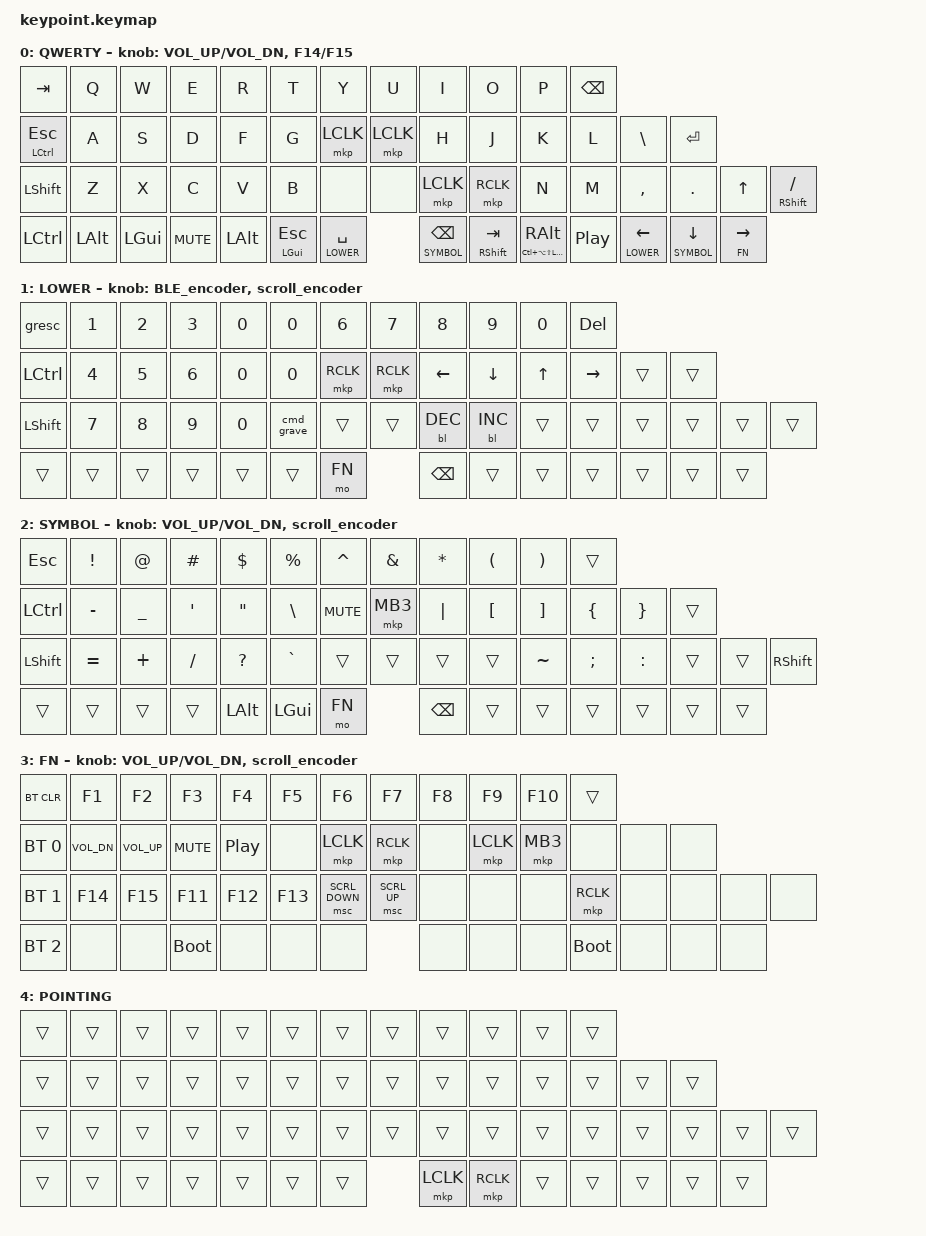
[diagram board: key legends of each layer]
/*
 * Copyright (c) 2025 ZitaoTech
 *
 * SPDX-License-Identifier: MIT
 */

#include <dt-bindings/zmk/mouse.h>
#include <behaviors.dtsi>
#include <dt-bindings/zmk/backlight.h>
#include <dt-bindings/zmk/bt.h>
#include <dt-bindings/zmk/keys.h>
#include <dt-bindings/zmk/pointing.h>

/* Layer numbers are also referenced from zitaotech_keypoint_left.dts, where the
 * trackpoint's input listener gates scrolling on LOWER and the temp-layer
 * processor raises POINTING. tests/test_pointing_layers.py holds the two files
 * to the same numbers -- a silent mismatch there disables scrolling outright. */
#define LOWER 1
#define SYMBOL 2
#define FN 3
#define POINTING 4

/ {
    behaviors {
        BLE_encoder: BLE_encoder {
            compatible = "zmk,behavior-sensor-rotate";
            #sensor-binding-cells = <0>;
            bindings = <&bt BT_NXT>, <&bt BT_PRV>;
        };

        scroll_encoder: scroll_encoder {
            compatible = "zmk,behavior-sensor-rotate";
            #sensor-binding-cells = <0>;
            bindings = <&msc SCRL_UP>, <&msc SCRL_DOWN>;
        };
    };

    macros {
        cmd_space: cmd_space {
            compatible = "zmk,behavior-macro";
            #binding-cells = <0>;
            bindings = <&macro_press &kp LGUI>, <&macro_tap &kp SPACE>, <&macro_release &kp LGUI>;
        };

        cmd_grave: cmd_grave {
            compatible = "zmk,behavior-macro";
            #binding-cells = <0>;
            bindings = <&macro_press &kp LGUI>, <&macro_tap &kp GRAVE>, <&macro_release &kp LGUI>;
        };
    };

    combos {
        compatible = "zmk,combos";

        combo_jk_cmd_space {
            timeout-ms = <50>;
            key-positions = <21 22>;
            layers = <0>;
            bindings = <&cmd_space>;
        };

        combo_df_cmd_space {
            timeout-ms = <50>;
            key-positions = <15 16>;
            layers = <0>;
            bindings = <&cmd_space>;
        };
    };

    keymap {
        compatible = "zmk,keymap";

        default_layer {
            display-name = "QWERTY";
            bindings = <
&kp TAB        &kp Q     &kp W     &kp E       &kp R     &kp T            &kp Y            &kp U            &kp I           &kp O         &kp P  &kp BSPC
&mt LCTRL ESC  &kp A     &kp S     &kp D       &kp F     &kp G            &mkp LCLK        &mkp LCLK        &kp H           &kp J         &kp K  &kp L           &kp BSLH         &kp ENTER
&kp LSHFT      &kp Z     &kp X     &kp C       &kp V     &kp B            &none            &none            &mkp LCLK       &mkp RCLK    &kp N  &kp M           &kp COMMA        &kp DOT       &kp UP      &mt RSHFT FSLH
&kp LCTRL      &kp LALT  &kp LGUI  &kp C_MUTE  &kp LALT  &mt LGUI ESC      &lt LOWER SPACE  &lt SYMBOL BSPC  &mt RSHFT TAB   &mt LC(LA(LS(LGUI))) RALT  &kp C_PP    &lt LOWER LEFT  &lt SYMBOL DOWN  &lt FN RIGHT
            >;

            sensor-bindings = <&inc_dec_kp C_VOL_UP C_VOL_DN &inc_dec_kp F14 F15>;
        };

        lower_layer {
            display-name = "LOWER";
            bindings = <
&gresc     &kp N1  &kp N2  &kp N3      &kp N0  &kp N0     &kp N6     &kp N7     &kp N8      &kp N9      &kp N0  &kp DEL
&kp LCTRL  &kp N4  &kp N5  &kp N6      &kp N0  &kp N0     &mkp RCLK  &mkp RCLK  &kp LEFT    &kp DOWN    &kp UP  &kp RIGHT  &trans  &trans
&kp LSHFT  &kp N7  &kp N8  &kp N9      &kp N0  &cmd_grave  &trans     &trans     &bl BL_DEC  &bl BL_INC  &trans  &trans     &trans  &trans  &trans  &trans
&trans     &trans  &trans  &trans      &trans  &trans     &mo FN     &kp BSPC   &trans      &trans      &trans  &trans     &trans  &trans
            >;

            sensor-bindings = <&BLE_encoder &scroll_encoder>;
        };

        symbol_layer {
            display-name = "SYMBOL";
            bindings = <
&kp ESC    &kp EXCL   &kp AT     &kp HASH  &kp DLLR      &kp PRCNT  &kp CARET   &kp AMPS  &kp STAR  &kp LPAR  &kp RPAR   &trans
&kp LCTRL  &kp MINUS  &kp UNDER  &kp SQT   &kp DQT       &kp BSLH   &kp C_MUTE  &mkp MB3  &kp PIPE  &kp LBKT  &kp RBKT   &kp LBRC  &kp RBRC   &trans
&kp LSHFT  &kp EQUAL  &kp PLUS   &kp FSLH  &kp QUESTION  &kp GRAVE  &trans      &trans    &trans    &trans    &kp TILDE  &kp SEMI  &kp COLON  &trans  &trans  &kp RSHFT
&trans     &trans     &trans     &trans    &kp LALT      &kp LGUI   &mo FN      &kp BSPC  &trans    &trans    &trans      &trans    &trans     &trans
            >;

            sensor-bindings = <&inc_dec_kp C_VOL_UP C_VOL_DN &scroll_encoder>;
        };

        fn_layer {
            display-name = "FN";
            bindings = <
&bt BT_CLR    &kp F1        &kp F2        &kp F3      &kp F4      &kp F5   &kp F6          &kp F7        &kp F8  &kp F9     &kp F10   &trans
&bt BT_SEL 0  &kp C_VOL_DN  &kp C_VOL_UP  &kp C_MUTE  &kp C_PP    &none    &mkp LCLK       &mkp RCLK     &none   &mkp LCLK  &mkp MB3  &none      &none  &none
&bt BT_SEL 1  &kp F14       &kp F15       &kp F11     &kp F12     &kp F13  &msc SCRL_DOWN  &msc SCRL_UP  &none   &none      &none     &mkp RCLK  &none  &none  &none  &none
&bt BT_SEL 2  &none         &none         &bootloader &none       &none    &none           &none         &none   &none      &bootloader &none     &none  &none
            >;

            sensor-bindings = <&inc_dec_kp C_VOL_UP C_VOL_DN &scroll_encoder>;
        };

        pointing_layer {
            display-name = "POINTING";
            bindings = <
&trans  &trans  &trans  &trans  &trans  &trans  &trans  &trans  &trans  &trans  &trans  &trans
&trans  &trans  &trans  &trans  &trans  &trans  &trans  &trans  &trans  &trans  &trans  &trans  &trans  &trans
&trans  &trans  &trans  &trans  &trans  &trans  &trans  &trans  &trans  &trans  &trans  &trans  &trans  &trans  &trans  &trans
&trans  &trans  &trans  &trans  &trans  &trans  &trans  &mkp LCLK  &mkp RCLK  &trans  &trans  &trans  &trans  &trans
            >;
        };
    };
};
